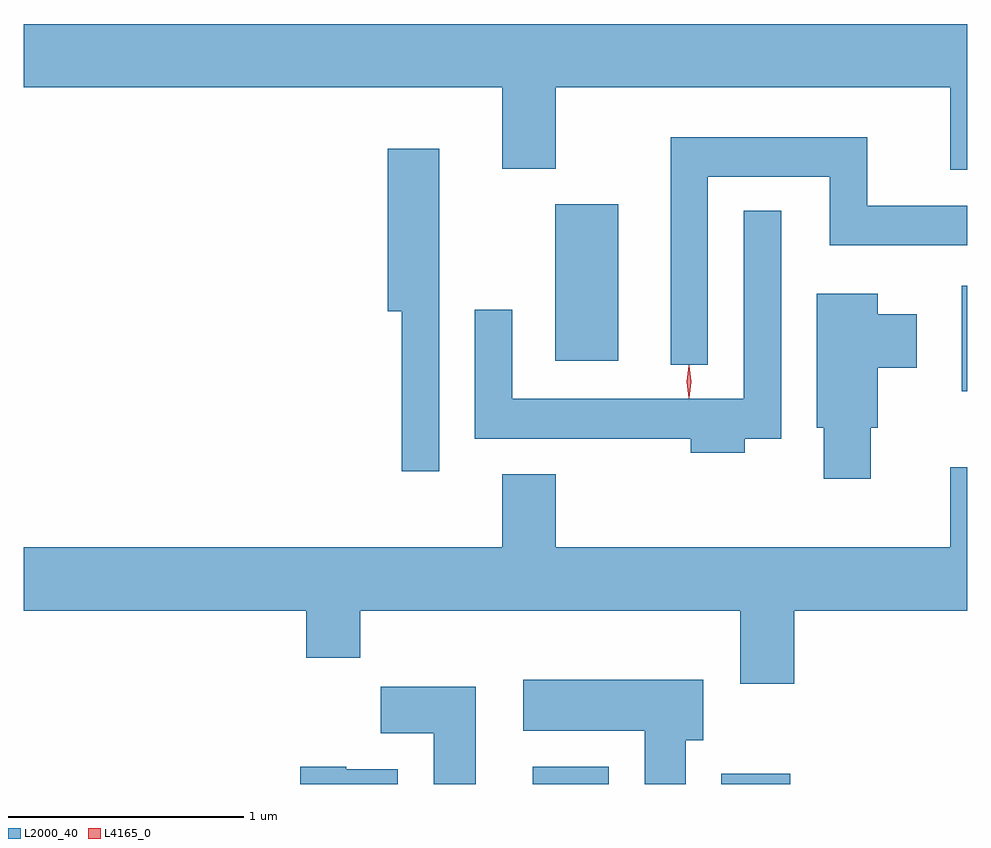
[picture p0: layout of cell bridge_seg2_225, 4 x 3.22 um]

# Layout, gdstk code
import gdstk
lib = gdstk.Library(unit=1e-6, precision=1e-09)
def R(c, l, rs):  # rectangles x0, y0, x1, y1
    for r in rs: c.add(gdstk.rectangle(r[:2], r[2:], *l))
def P(c, l, *ps):  # polygons
    for p in ps: c.add(gdstk.Polygon(p, *l))
L2000_40 = (2000, 40)
L4165_0 = (4165, 0)

bridge_seg2_225 = lib.new_cell('bridge_seg2_225')
R(bridge_seg2_225, L2000_40, [(564.821,1049.801,565.144,1049.874), (565.621,1049.801,565.914,1049.844), (566.641,1051.466,566.663,1051.914), (564.916,1051.596,565.184,1052.259)])
P(bridge_seg2_225, L2000_40, [(566.663,1053.024),(562.663,1053.024),(562.663,1052.756),(564.691,1052.756),(564.691,1052.411),(564.919,1052.411),(564.919,1052.756),(566.591,1052.756),(566.591,1052.406),(566.663,1052.406)],
  [(565.564,1052.376),(566.081,1052.376),(566.081,1052.086),(566.663,1052.086),(566.663,1052.254),(566.239,1052.254),(566.239,1052.544),(565.406,1052.544),(565.406,1051.578),(565.564,1051.578)],
  [(564.424,1052.494),(564.206,1052.494),(564.206,1051.806),(564.266,1051.806),(564.266,1051.128),(564.424,1051.128)],
  [(565.719,1051.266),(565.874,1051.266),(565.874,1052.233),(565.716,1052.233),(565.716,1051.434),(564.734,1051.434),(564.734,1051.813),(564.576,1051.813),(564.576,1051.266),(565.491,1051.266),(565.491,1051.206),(565.719,1051.206)],
  [(566.254,1051.311),(566.284,1051.311),(566.284,1051.566),(566.449,1051.566),(566.449,1051.794),(566.284,1051.794),(566.284,1051.879),(566.026,1051.879),(566.026,1051.311),(566.056,1051.311),(566.056,1051.096),(566.254,1051.096)],
  [(565.929,1050.536),(566.663,1050.536),(566.663,1051.144),(566.591,1051.144),(566.591,1050.804),(564.919,1050.804),(564.919,1051.114),(564.691,1051.114),(564.691,1050.804),(562.663,1050.804),(562.663,1050.536),(563.861,1050.536),(563.861,1050.336),(564.089,1050.336),(564.089,1050.536),(565.701,1050.536),(565.701,1050.226),(565.929,1050.226)],
  [(565.469,1049.986),(565.544,1049.986),(565.544,1050.244),(564.781,1050.244),(564.781,1050.026),(565.296,1050.026),(565.296,1049.801),(565.469,1049.801)],
  [(564.579,1050.214),(564.176,1050.214),(564.176,1050.016),(564.401,1050.016),(564.401,1049.801),(564.579,1049.801)],
  [(564.249,1049.864),(564.03,1049.864),(564.03,1049.874),(563.836,1049.874),(563.836,1049.801),(564.249,1049.801)])
P(bridge_seg2_225, L4165_0, [(565.483,1051.437),(565.483,1051.437),(565.473,1051.507),(565.483,1051.576),(565.483,1051.576),(565.484,1051.576),(565.493,1051.507),(565.484,1051.437)])

lib.write_gds('bridge_seg2_225.gds')
